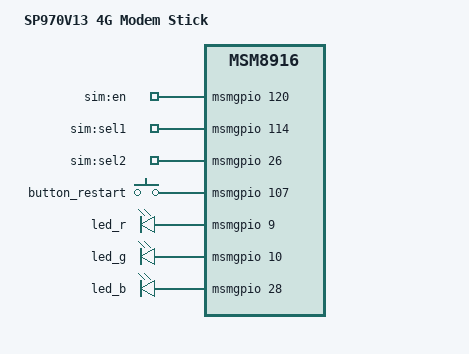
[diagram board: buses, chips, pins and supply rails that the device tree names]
// SPDX-License-Identifier: GPL-2.0-only

/dts-v1/;

#include "msm8916-ufi.dtsi"

/ {
	model = "SP970V13 4G Modem Stick";
	compatible = "GeXing,sp970v13", "qcom,msm8916";
	leds: leds {
		sim_en {
			label = "sim:en";
			gpios = <&msmgpio 120 GPIO_ACTIVE_HIGH>;
			default-state = "on";
		};

		sim_sel1 {
			label = "sim:sel1";
			gpios = <&msmgpio 114 GPIO_ACTIVE_HIGH>;
			default-state = "off";
		};

		sim_sel2 {
                        label = "sim:sel2";
                        gpios = <&msmgpio 26 GPIO_ACTIVE_HIGH>;
                        default-state = "off";
                };
	};
};

&button_restart {
	gpios = <&msmgpio 107 GPIO_ACTIVE_HIGH>;
};

&led_r {
	gpios = <&msmgpio 9 GPIO_ACTIVE_HIGH>;
};

&led_g {
	gpios = <&msmgpio 10 GPIO_ACTIVE_HIGH>;
};

&led_b {
	gpios = <&msmgpio 28 GPIO_ACTIVE_HIGH>;
};

/*&mpss {
	pinctrl-0 = <&sim_ctrl_default>;
	pinctrl-names = "default";
};*/

&button_default {
	pins = "gpio107";
	bias-pull-down;
};

&gpio_leds_default {
	pins = "gpio9","gpio10","gpio28","gpio26","gpio114","gpio120";
};

/* This selects the external SIM card slot by default */
/*&msmgpio {
	sim_ctrl_default: sim-ctrl-default-state {
		esim-sel-pins {
			pins = "gpio0", "gpio3";
			bias-disable;
			output-low;
		};

		sim-en-pins {
			pins = "gpio1";
			bias-disable;
			output-low;
		};

		sim-sel-pins {
			pins = "gpio2";
			bias-disable;
			output-high;
		};
	};
};*/
